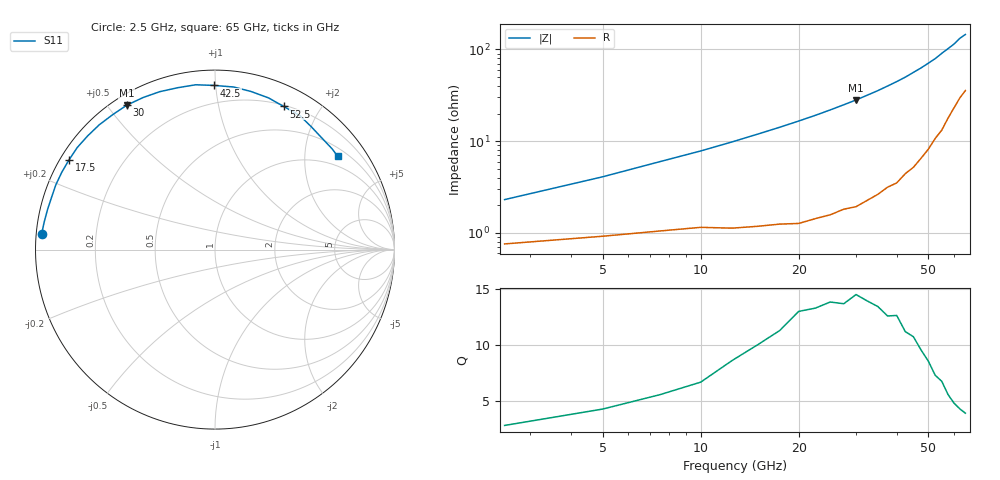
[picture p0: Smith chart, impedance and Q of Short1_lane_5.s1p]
! File created by SignalIntegrity v1.5.1: Signal and Power Integrity Tools
! https://github.com/Nubis-Communications/SignalIntegrity
# MHz S MA R 50.0
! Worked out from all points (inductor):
!   26 points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, 2.5 GHz to 65 GHz, reference 50 ohm
!   read as one part to ground: L = 125 pH near 5 GHz
!   highest Q = 13.9 at 30 GHz (marker M1), where L = 149 pH
!   S11 on the Smith chart (normalised r, x): 2.5 GHz: 0.02, +0.04; 17.5 GHz: 0.02, +0.28; 30 GHz: 0.04, +0.56; 42.5 GHz: 0.09, +0.99; 52.5 GHz: 0.21, +1.57; 65 GHz: 0.71, +2.81
2500  0.9701 175.0
5000  0.964 170.9
7500  0.9594 166.6
10000  0.956 162.4
12500  0.9574 157.9
15000  0.9562 153.2
17500  0.9548 148.4
20000  0.9552 143.4
22500  0.9512 138.3
25000  0.9484 132.8
27500  0.9434 127.1
30000  0.9429 121.4
32500  0.9372 115.3
35000  0.9322 109.3
37500  0.9256 102.9
40000  0.9245 96.7
42500  0.9147 90.3
45000  0.9119 83.4
47500  0.9034 77.1
50000  0.8963 70.5
52500  0.8846 64.4
55000  0.8833 57.6
57500  0.8696 51.9
60000  0.8612 46.7
62500  0.8607 40.8
65000  0.859 37.2
